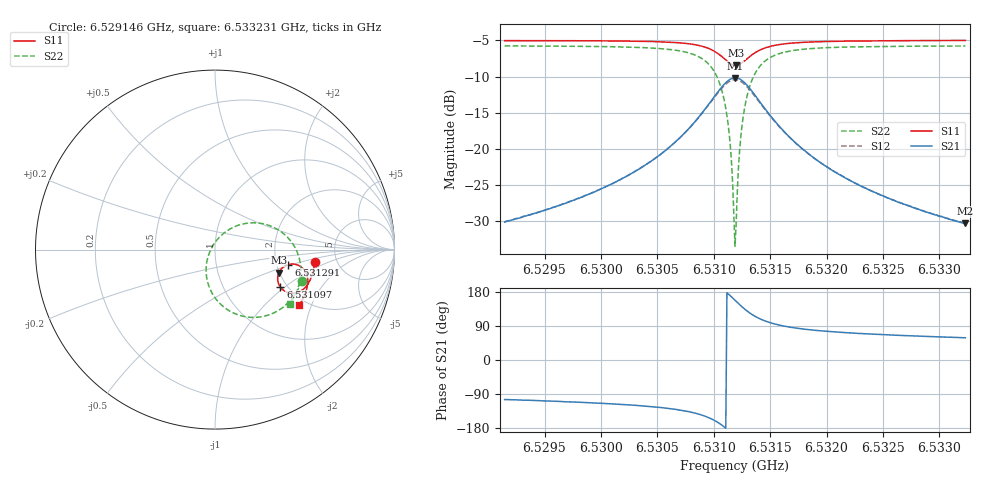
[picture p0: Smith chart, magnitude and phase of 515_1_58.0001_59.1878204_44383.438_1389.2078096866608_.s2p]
#  HZ  S  RI  R  50.00
! Rohde & Schwarz Vector Network Analyzer
! Rohde-Schwarz,ZNB20-2Port,1311601062101988,3.16
! Created: UTC 3/21/2024, 1:13:20 AM
! freq[Hz]  re:S11  im:S11  re:S21  im:S21  re:S12  im:S12  re:S22  im:S22
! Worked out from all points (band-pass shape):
!   401 points, 6.529146 GHz to 6.533231 GHz, reference 50 ohm
!   highest |S21| = -10.16 dB at 6.531188 GHz (marker M1); lowest = -30.3 dB at 6.533231 GHz (marker M2)
!   |S21| within 3 dB of the highest: 6.530986 GHz to 6.531394 GHz (408 kHz wide, 0.00625 % of centre)
!   lowest |S11| = -8.4 dB at 6.531199 GHz (marker M3), VSWR 2.22, Z = 99.2 - j29.9 ohm
!   |S11| at or under -10 dB: nowhere
!   |S22| runs from -33.4 to -5.7 dB; largest |S21 - S12| = 0.012
!   S11 on the Smith chart (normalised r, x): 6.529146 GHz: 3.40, -0.69; 6.531097 GHz: 1.84, -0.93; 6.531291 GHz: 2.32, -0.47; 6.533231 GHz: 1.82, -1.64
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6.5291462e9  0.5566 -0.0698  -0.00779 -0.0303  -0.00832 -0.0303  0.4857 -0.1738
6.5298304e9  0.5453 -0.1266  -0.0174 -0.0431  -0.0184 -0.043  0.4542 -0.2371
6.5305145e9  0.5158 -0.1945  -0.0516 -0.074  -0.0537 -0.0726  0.3716 -0.3269
6.5307494e9  0.4883 -0.224  -0.0919 -0.0932  -0.0946 -0.0901  0.2904 -0.3667
6.530923e9  0.4439 -0.2426  -0.1607 -0.0993  -0.163 -0.0927  0.1635 -0.3728
6.5310251e9  0.3988 -0.2366  -0.2306 -0.0721  -0.2297 -0.0625  0.0451 -0.3165
6.5310966e9  0.364 -0.2083  -0.2819 -0.0125  -0.276 -0.00271  -0.0321 -0.2081
6.5311374e9  0.3512 -0.1798  -0.2977 0.0412  -0.2886 0.049  -0.0496 -0.1164
6.5311782e9  0.3505 -0.1459  -0.2926 0.1024  -0.2816 0.1067  -0.031 -0.017
6.5311885e9  0.3526 -0.1374  -0.2874 0.1173  -0.2763 0.1207  -0.0202 0.0069
6.5311987e9  0.3556 -0.1292  -0.2808 0.1319  -0.2697 0.1341  -0.0071 0.0296
6.5312089e9  0.3596 -0.1214  -0.2728 0.1455  -0.2619 0.1468  0.0081 0.0506
6.5312293e9  0.3696 -0.1074  -0.2533 0.1697  -0.2431 0.1693  0.0439 0.0872
6.5312395e9  0.3755 -0.1015  -0.2423 0.1801  -0.2325 0.1789  0.0638 0.1025
6.5312599e9  0.3883 -0.0918  -0.2182 0.1968  -0.2096 0.1944  0.1058 0.1262
6.5312906e9  0.4094 -0.0831  -0.1807 0.2121  -0.174 0.2088  0.1702 0.1458
6.531362e9  0.4531 -0.0836  -0.1042 0.2135  -0.1008 0.2103  0.2989 0.1354
6.5314642e9  0.4909 -0.1066  -0.0387 0.1813  -0.0371 0.1796  0.4055 0.0669
6.5316173e9  0.5122 -0.1435  0.000439 0.1338  0.00157 0.133  0.4639 -0.0296
6.5318726e9  0.5166 -0.1873  0.0167 0.0872  0.0178 0.0868  0.4783 -0.1279
6.5325568e9  0.4971 -0.258  0.0184 0.0417  0.0191 0.0414  0.4499 -0.2447
6.5332307e9  0.4706 -0.3083  0.0159 0.0262  0.0164 0.026  0.4153 -0.3051
